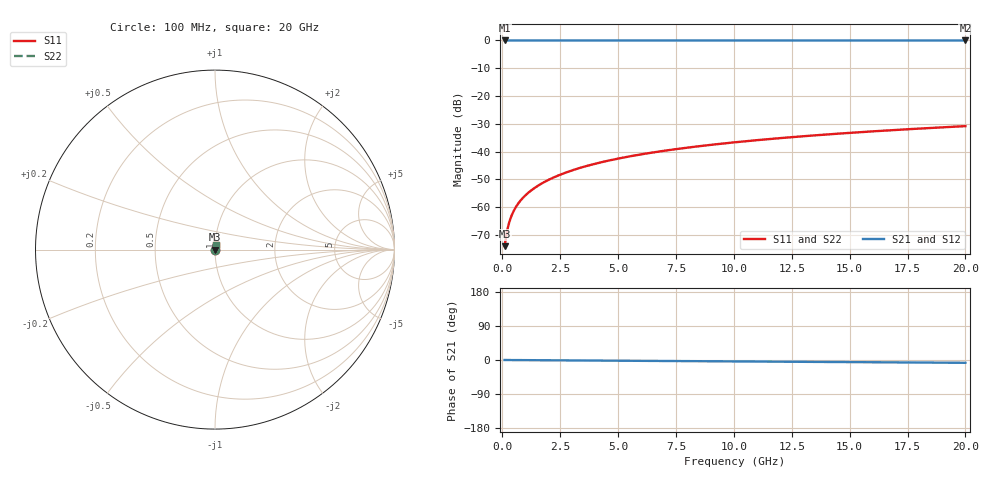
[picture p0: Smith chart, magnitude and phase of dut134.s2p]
! Touchstone file exported from HFSS 2026.1.0
!  File:  C:/ffzhzh/LocalFiles/Ansys_Project_Files/temp_train_TSV_134_1782990227_41620.aedt
!  Generated:  07:05:04 PM Jul  2, 2026
!  Design:  TSV
!  Project:  temp_train_TSV_134_1782990227_41620
! Variables:
!  h_bsmrdl = 2um
!  h_ox = 20um
!  h_rdl = 5um
!  h_sub = 66.34um
!  h_tmrdl = 5um
!  h_tsv = 66.34um
!  h_via = 3um
!  l_bsmrdl = 300um
!  l_sub = 422.86um
!  l_tmrdl = 200um
!  m_sub = 200um
!  pitch = 58.8um
!  r_tsv = 11.43um
!  s_tmrdl = 10um
!  w_bsmrdl = 18um
!  w_sub = 500um
!  w_tmrdl = 12um
!  x_tsv_center1 = 206um
!  x_tsv_center2 = 524um
!  x_tsv_center3 = 736um
!  x_tsv_center4 = 1054um
!  x_tsv_center5 = 1266um
!  x_tsv_center6 = 1584um
# GHz S MA R 50.000000
! Terminal data exported
! Port[1] = TSV1_1_T1
! Port[2] = TSV1_1_T2
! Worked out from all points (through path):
!   200 points, 100 MHz to 20 GHz, reference 50 ohm
!   highest |S21| = 0.00 dB at 100 MHz (marker M1); lowest = 0.0 dB at 20 GHz (marker M2)
!   group delay of S21, straight-line fit = 1.03 ps
!   lowest |S11| = -74.0 dB at 100 MHz (marker M3), VSWR 1.00, Z = 50 + j0.0178 ohm
!   |S11| at or under -10 dB: start of sweep to end of sweep
!   |S22| runs from -74.0 to -30.8 dB; largest |S21 - S12| = 3.1e-15
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0.1  0.000199 63.4  0.9999 -0.0  0.9999 -0.0  0.000199 63.4
! Gamma 0 0 0 0
! Port Impedance 50 0 50 0
0.2  0.0003674 74.4  0.9999 -0.1  0.9999 -0.1  0.0003674 74.4
0.3  0.0005379 77.8  0.9999 -0.1  0.9999 -0.1  0.0005379 77.8
0.4  0.0007053 79.2  0.9999 -0.2  0.9999 -0.2  0.0007053 79.2
0.5  0.0008686 80.0  0.9999 -0.2  0.9999 -0.2  0.0008686 80.0
0.6  0.001028 80.4  0.9998 -0.2  0.9998 -0.2  0.001028 80.4
0.7  0.001184 80.8  0.9998 -0.3  0.9998 -0.3  0.001184 80.8
0.9  0.001488 81.3  0.9998 -0.3  0.9998 -0.3  0.001488 81.3
1.1  0.001786 81.8  0.9998 -0.4  0.9998 -0.4  0.001786 81.8
1.3  0.002082 82.2  0.9997 -0.5  0.9997 -0.5  0.002082 82.2
1.6  0.002523 82.8  0.9997 -0.6  0.9997 -0.6  0.002523 82.8
1.9  0.002963 83.3  0.9997 -0.7  0.9997 -0.7  0.002963 83.3
2.6  0.00399 83.9  0.9996 -1.0  0.9996 -1.0  0.00399 83.9
3.5  0.005307 84.3  0.9996 -1.3  0.9996 -1.3  0.005307 84.3
4.2  0.006328 84.4  0.9995 -1.6  0.9995 -1.6  0.006328 84.4
5  0.007489 84.4  0.9995 -1.9  0.9995 -1.9  0.007489 84.4
6.8  0.01008 84.2  0.9994 -2.5  0.9994 -2.5  0.01008 84.2
8.3  0.01223 84.0  0.9993 -3.1  0.9993 -3.1  0.01223 84.0
10.1  0.0148 83.6  0.9992 -3.8  0.9992 -3.8  0.0148 83.6
13.4  0.01948 82.7  0.999 -5.0  0.999 -5.0  0.01948 82.7
16.7  0.02413 81.7  0.9988 -6.2  0.9988 -6.2  0.02413 81.7
20  0.02875 80.7  0.9986 -7.4  0.9986 -7.4  0.02875 80.7
